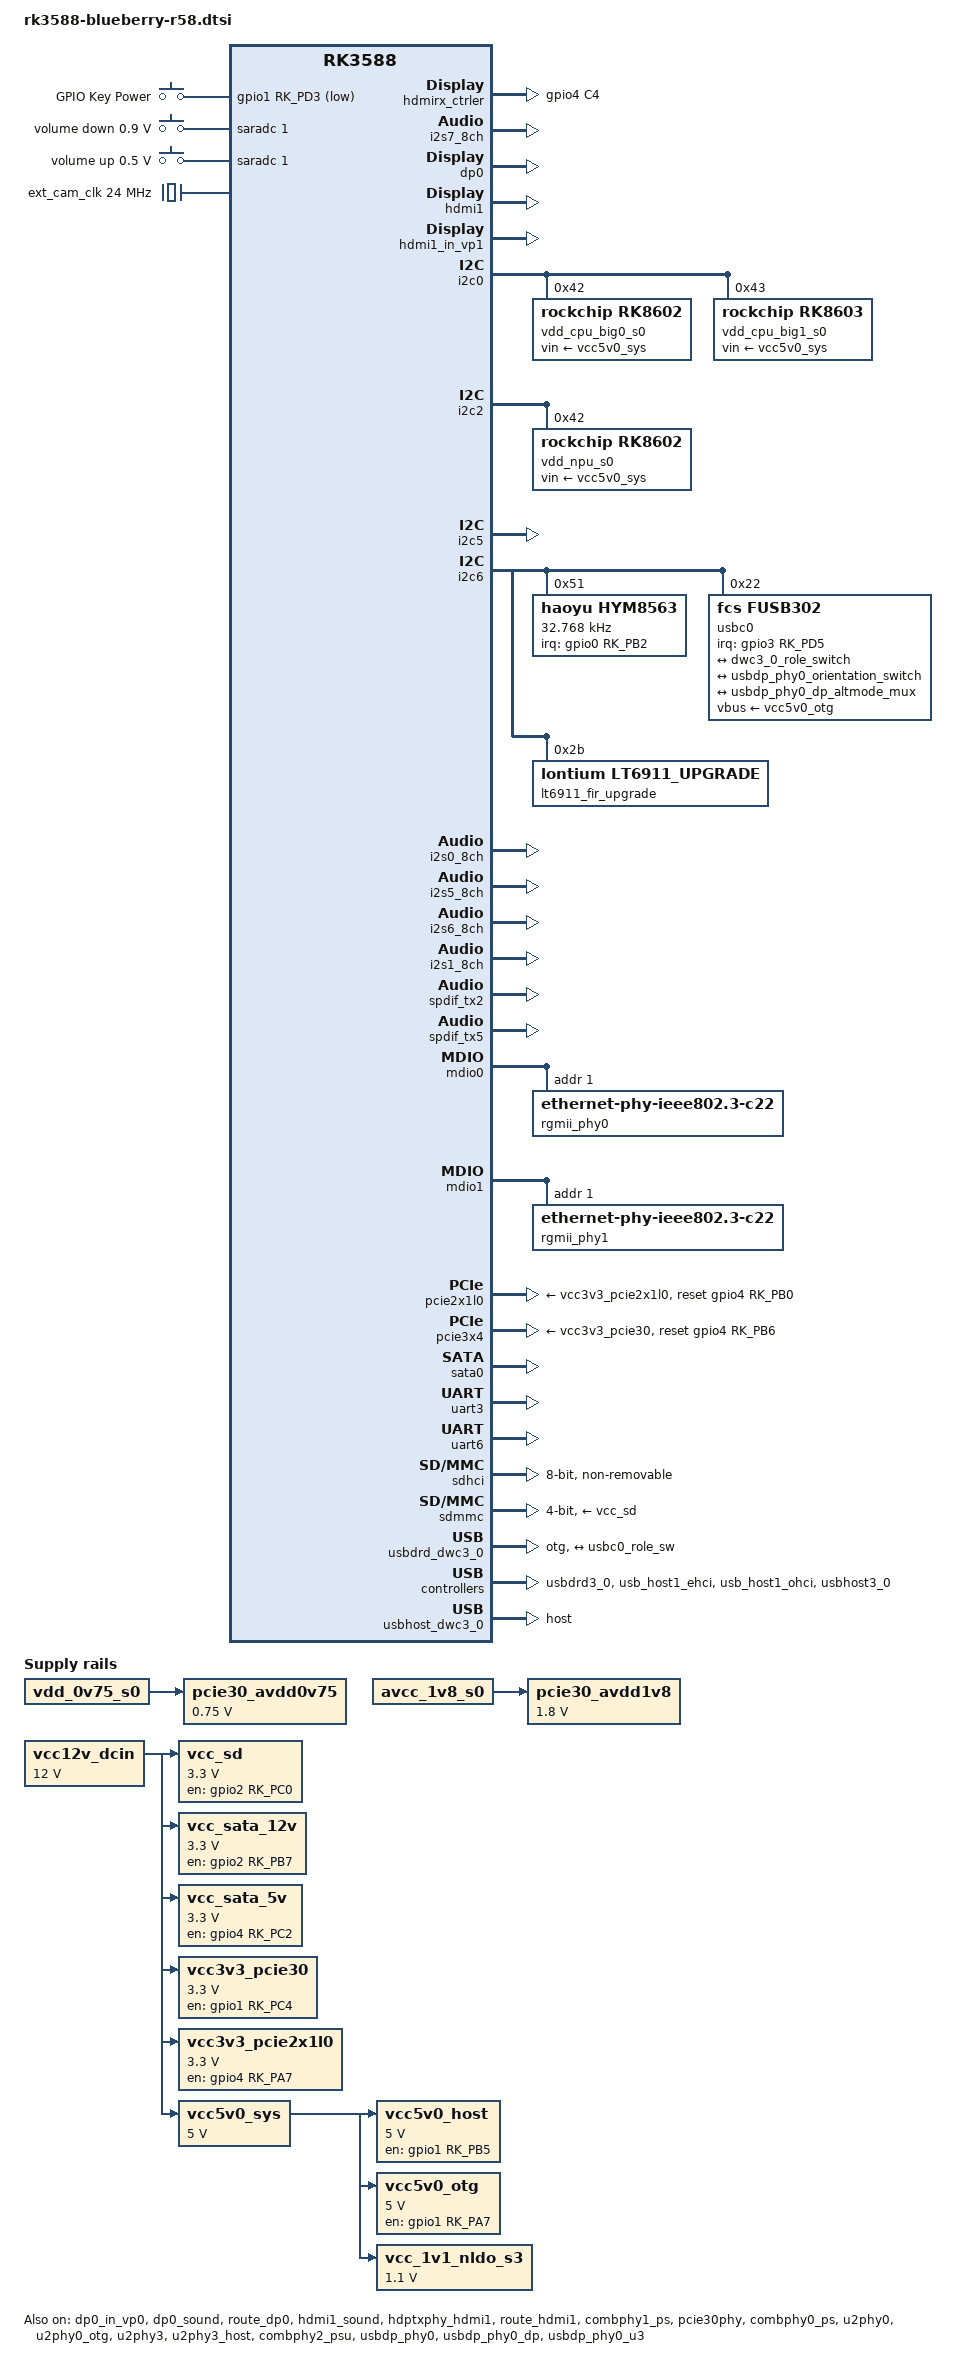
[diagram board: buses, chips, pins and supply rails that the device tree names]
// SPDX-License-Identifier: (GPL-2.0+ OR MIT)
/*
 * Copyright (c) 2021 Rockchip Electronics Co., Ltd.
 *
 */

#include "dt-bindings/usb/pd.h"
#include "rk3588.dtsi"
#include "rk3588-hugsun.dtsi"
#include "rk3588-rk806-single.dtsi"

/ {
	/* If hdmirx node is disabled, delete the reserved-memory node here. */
	reserved-memory {
		#address-cells = <2>;
		#size-cells = <2>;
		ranges;

		/* Reserve 256MB memory for hdmirx-controller@fdee0000 */
		cma {
			compatible = "shared-dma-pool";
			reusable;
			reg = <0x0 (256 * 0x100000) 0x0 (256 * 0x100000)>;
			linux,cma-default;
		};
	};

	hdmiin-sound {
		compatible = "rockchip,hdmi";
		rockchip,mclk-fs = <128>;
		rockchip,format = "i2s";
		rockchip,bitclock-master = <&hdmirx_ctrler>;
		rockchip,frame-master = <&hdmirx_ctrler>;
		rockchip,card-name = "rockchip,hdmirx";
		rockchip,cpu = <&i2s7_8ch>;
		rockchip,codec = <&hdmirx_ctrler 0>;
		rockchip,jack-det;
	};

	es8388_sound: es8388-sound {
		status = "okay";
		compatible = "rockchip,multicodecs-card";
		rockchip,card-name = "rockchip-es8388";
		//hp-det-gpio = <&gpio3 RK_PB2 GPIO_ACTIVE_HIGH>;
		rockchip,format = "i2s";
		rockchip,mclk-fs = <256>;
		rockchip,cpu = <&i2s0_8ch>;
		rockchip,codec = <&es8388>;
		rockchip,audio-routing =
			"Headphone", "LOUT1",
			"Headphone", "ROUT1",
			"Speaker", "LOUT2",
			"Speaker", "ROUT2",
			"Headphone", "Headphone Power",
			"Headphone", "Headphone Power",
			"Speaker", "Speaker Power",
			"Speaker", "Speaker Power",
			"LINPUT1", "Main Mic",
			"LINPUT2", "Main Mic",
			"RINPUT1", "Headset Mic",
			"RINPUT2", "Headset Mic";
		pinctrl-names = "default";
		//pinctrl-0 = <&hp_det>;
	};

	rk_headset: rk-headset {
		status = "disabled";
		compatible = "rockchip_headset";
		headset_gpio = <&gpio3 RK_PB2 GPIO_ACTIVE_HIGH>;
		pinctrl-names = "default";
		pinctrl-0 = <&hp_det>;
		io-channels = <&saradc 3>;
	};

#if 0
	leds: leds {
		compatible = "gpio-leds";
		wifi_led: wifi-led {
			gpios = <&gpio3 RK_PC5 GPIO_ACTIVE_HIGH>;
			default-state = "off";
		};
		//hdd_led: hdd-led {
		//	gpios = <&gpio3 RK_PC1 GPIO_ACTIVE_HIGH>;
		//	default-state = "off";
		//};
		eth_led: eth-led {
			gpios = <&gpio2 RK_PC4 GPIO_ACTIVE_HIGH>;
			default-state = "off";
		};
		work_led: work-led {
			gpios = <&gpio3 RK_PB7 GPIO_ACTIVE_HIGH>;
			//linux,default-trigger = "heartbeat";
			default-state = "on";
		};
	};
#endif

	gpio_keys: gpio-keys {
		compatible = "gpio-keys";
		autorepeat;
		pinctrl-names = "default";
		pinctrl-0 = <&pwrbtn>;

		power {
			debounce-interval = <100>;
			gpios = <&gpio1 RK_PD3 GPIO_ACTIVE_LOW>;
			//gpios = <&gpio0 RK_PD5 GPIO_ACTIVE_LOW>;
			label = "GPIO Key Power";
			linux,code = <KEY_POWER>;
			wakeup-source;
		};
	};	

	adc_keys: adc-keys {
		status = "okay";
		compatible = "adc-keys";
		io-channels = <&saradc 1>;
		io-channel-names = "buttons";
		keyup-threshold-microvolt = <1800000>;
		poll-interval = <100>;

		vol-down-key {
			linux,code = <KEY_VOLUMEDOWN>;
			label = "volume down";
			press-threshold-microvolt = <900000>;
		};

		vol-up-key {
			linux,code = <KEY_VOLUMEUP>;
			label = "volume up";
			press-threshold-microvolt = <500000>;
		};
	};

	vk2c21_lcd {
		compatible = "lcd_vk2c21";
		i2c_scl = <&gpio0 RK_PC5 GPIO_ACTIVE_HIGH>;  
		i2c_sda = <&gpio0 RK_PC4 GPIO_ACTIVE_HIGH>; 
		
		status = "disabled";//"okay";  //zxLog_2022.9.20 for maozhuo time-lcd show;
	};

	vcc_sd: sd-regulator {
		compatible = "regulator-fixed";
		gpios = <&gpio2 RK_PC0 GPIO_ACTIVE_HIGH>;
		pinctrl-names = "default";
		pinctrl-0 = <&sdmmc_pwr>;
		regulator-always-on;
		regulator-boot-on;
		enable-active-high;
		regulator-name = "vcc_sd";
		regulator-min-microvolt = <3300000>;
		regulator-max-microvolt = <3300000>;
		startup-delay-us = <100000>;
		vin-supply = <&vcc12v_dcin>;
	};

	vcc_sata_12v: sdmmc-regulator {
		compatible = "regulator-fixed";
		gpios = <&gpio2 RK_PB7 GPIO_ACTIVE_HIGH>;
		pinctrl-names = "default";
		pinctrl-0 = <&sata_pwr_12v>;
		regulator-always-on;
		regulator-boot-on;
		enable-active-high;
		regulator-name = "vcc_sata_12v";
		regulator-min-microvolt = <3300000>;
		regulator-max-microvolt = <3300000>;
		startup-delay-us = <100000>;
		vin-supply = <&vcc12v_dcin>;
	};

	vcc_sata_5v: sdmmc-regulator {
		compatible = "regulator-fixed";
		gpios = <&gpio4 RK_PC2 GPIO_ACTIVE_HIGH>;
		pinctrl-names = "default";
		pinctrl-0 = <&sata_pwr_5v>;
		regulator-always-on;
		regulator-boot-on;
		enable-active-high;
		regulator-name = "vcc_sata_5v";
		regulator-min-microvolt = <3300000>;
		regulator-max-microvolt = <3300000>;
		startup-delay-us = <100000>;
		vin-supply = <&vcc12v_dcin>;
	};


	pcie30_avdd0v75: pcie30-avdd0v75 {
		compatible = "regulator-fixed";
		regulator-name = "pcie30_avdd0v75";
		regulator-boot-on;
		regulator-always-on;
		regulator-min-microvolt = <750000>;
		regulator-max-microvolt = <750000>;
		vin-supply = <&vdd_0v75_s0>;
	};

	pcie30_avdd1v8: pcie30-avdd1v8 {
		compatible = "regulator-fixed";
		regulator-name = "pcie30_avdd1v8";
		regulator-boot-on;
		regulator-always-on;
		regulator-min-microvolt = <1800000>;
		regulator-max-microvolt = <1800000>;
		vin-supply = <&avcc_1v8_s0>;
	};

	vcc12v_dcin: vcc12v-dcin {
		compatible = "regulator-fixed";
		regulator-name = "vcc12v_dcin";
		regulator-always-on;
		regulator-boot-on;
		regulator-min-microvolt = <12000000>;
		regulator-max-microvolt = <12000000>;
	};

	vcc3v3_pcie30: vcc3v3-pcie30 {
		compatible = "regulator-fixed";
		regulator-name = "vcc3v3_pcie30";
		regulator-min-microvolt = <3300000>;
		regulator-max-microvolt = <3300000>;
		enable-active-high;
		pinctrl-names = "default";
		pinctrl-0 = <&vcc3v3_pcie30_en>;		
		gpios = <&gpio1 RK_PC4 GPIO_ACTIVE_HIGH>;    //hugsun gpio1_c4
		startup-delay-us = <10000>;
		vin-supply = <&vcc12v_dcin>;
	};

	vcc3v3_pcie2x1l0: vcc3v3-pcie2x1l0{
		compatible = "regulator-fixed";
		regulator-name = "vcc3v3_pcie2x1l0";
		regulator-min-microvolt = <3300000>;
		regulator-max-microvolt = <3300000>;
		enable-active-high;	
		gpios = <&gpio4 RK_PA7 GPIO_ACTIVE_HIGH>; 
		startup-delay-us = <10000>;
		vin-supply = <&vcc12v_dcin>;
	};




	vcc5v0_sys: vcc5v0-sys {
		compatible = "regulator-fixed";
		regulator-name = "vcc5v0_sys";
		regulator-always-on;
		regulator-boot-on;
		regulator-min-microvolt = <5000000>;
		regulator-max-microvolt = <5000000>;
		vin-supply = <&vcc12v_dcin>;
	};

	vcc5v0_host: vcc5v0-host-regulator {
		compatible = "regulator-fixed";
		regulator-name = "vcc5v0_host";
		regulator-boot-on;
		regulator-always-on;
		regulator-min-microvolt = <5000000>;
		regulator-max-microvolt = <5000000>;
		enable-active-high;
		gpio = <&gpio1 RK_PB5 GPIO_ACTIVE_HIGH>;
		vin-supply = <&vcc5v0_sys>;
		pinctrl-names = "default";
		pinctrl-0 = <&vcc5v0_host_en>;
	};

	vcc5v0_otg: vcc5v0-otg-regulator {
		compatible = "regulator-fixed";
		regulator-name = "vcc5v0_otg";
		regulator-min-microvolt = <5000000>;
		regulator-max-microvolt = <5000000>;
		enable-active-high;
		gpio = <&gpio1 RK_PA7 GPIO_ACTIVE_HIGH>;
		vin-supply = <&vcc5v0_sys>;
		pinctrl-names = "default";
		pinctrl-0 = <&vcc5v0_otg_en>;
	};

	vcc_1v1_nldo_s3: vcc-1v1-nldo-s3 {
		compatible = "regulator-fixed";
		regulator-name = "vcc_1v1_nldo_s3";
		regulator-always-on;
		regulator-boot-on;
		regulator-min-microvolt = <1100000>;
		regulator-max-microvolt = <1100000>;
		vin-supply = <&vcc5v0_sys>;
	};
#if 0
	modem {
		compatible = "rockchip,modem";
		status = "disabled";
		power-on_gpio = <&gpio0 RK_PD5 GPIO_ACTIVE_HIGH>;
		reset_gpio = <&gpio0 RK_PA0 GPIO_ACTIVE_HIGH>; //GPIO_C4
	};
#endif
	ext_cam_clk: external-camera-clock {
		compatible = "fixed-clock";
		clock-frequency = <24000000>;
		clock-output-names = "CLK_CAMERA_24MHZ";
		#clock-cells = <0>;
	};	

	wireless_bluetooth: wireless-bluetooth {
		compatible = "bluetooth-platdata";
		clocks = <&hym8563>;
		clock-names = "ext_clock";
		uart_rts_gpios = <&gpio1 RK_PA2 GPIO_ACTIVE_LOW>;
		pinctrl-names = "default", "rts_gpio";
		pinctrl-0 = <&uart6m1_rtsn>, <&bt_gpio>;
		pinctrl-1 = <&uart6_gpios>;
		BT,reset_gpio    = <&gpio1 RK_PB2 GPIO_ACTIVE_HIGH>;
		BT,wake_gpio     = <&gpio1 RK_PA4 GPIO_ACTIVE_HIGH>;
		BT,wake_host_irq = <&gpio1 RK_PB0 GPIO_ACTIVE_HIGH>;
		status = "disabled";
	};

	wireless_wlan: wireless-wlan {
		compatible = "wlan-platdata";
		wifi_chip_type = "ap6275p";
		pinctrl-names = "default";
		//pinctrl-0 = <&wifi_host_wake_irq>, <&wifi_poweren_gpio>;
		WIFI,host_wake_irq = <&gpio1 RK_PA7 GPIO_ACTIVE_HIGH>;
		WIFI,poweren_gpio = <&gpio1 RK_PB1 GPIO_ACTIVE_HIGH>;
		status = "disabled";
	};
};

/* Should work with at least 128MB cma reserved above. */
&hdmirx_ctrler {
	status = "okay";
	#sound-dai-cells = <1>;
	/* Effective level used to trigger HPD: 0-low, 1-high */
	hpd-trigger-level = <1>;
	hdmirx-det-gpios = <&gpio4 RK_PC4 GPIO_ACTIVE_LOW>;
	pinctrl-names = "default";
	pinctrl-0 = <&hdmim1_rx &hdmirx_det>;
};

//hdmiin sound
&i2s7_8ch {
	status = "okay";
};

//typec dp 
&dp0 {
	//pinctrl-0 = <&dp0m1_pins>;
	//split-mode;
	//pinctrl-names = "default";
	status = "okay";
};

&dp0_in_vp0 {
	status = "okay";
};

&dp0_sound{
	status = "okay";
};

&route_dp0 {
	status = "okay";
	connect = <&vp0_out_dp0>;
};
//typec dp  end

&gmac0 {
	/* Use rgmii-rxid mode to disable rx delay inside Soc */
	phy-mode = "rgmii-rxid";
	clock_in_out = "output";

	snps,reset-gpio = <&gpio3 RK_PC0 GPIO_ACTIVE_LOW>;
	snps,reset-active-low;
	/* Reset time is 20ms, 100ms for rtl8211f */
	snps,reset-delays-us = <0 20000 100000>;

	pinctrl-names = "default";
	pinctrl-0 = <&gmac0_miim
		     &gmac0_tx_bus2
		     &gmac0_rx_bus2
		     &gmac0_rgmii_clk
		     &gmac0_rgmii_bus>;

	tx_delay = <0x44>;
	/* rx_delay = <0x4f>; */

	phy-handle = <&rgmii_phy0>;
	status = "disabled";
};

&gmac1 {
	/* Use rgmii-rxid mode to disable rx delay inside Soc */
	phy-mode = "rgmii-rxid";
	clock_in_out = "output";

	snps,reset-gpio = <&gpio4 RK_PA2 GPIO_ACTIVE_LOW>;
	snps,reset-active-low;
	/* Reset time is 20ms, 100ms for rtl8211f */
	snps,reset-delays-us = <0 20000 100000>;

	pinctrl-names = "default";
	pinctrl-0 = <&gmac1_miim
		     &gmac1_tx_bus2
		     &gmac1_rx_bus2
		     &gmac1_rgmii_clk
		     &gmac1_rgmii_bus>;

	tx_delay = <0x42>;
	/* rx_delay = <0x4f>; */

	phy-handle = <&rgmii_phy1>;
	status = "disabled";
};

&hdmi0 {
	enable-gpios = <&gpio4 RK_PB1 GPIO_ACTIVE_HIGH>;
	cec-enable = "true" ;
	status = "disabled";
};

&hdmi0_in_vp0 {
	status = "disabled";
};

&hdmi0_sound {
	status = "disabled";
};

&hdptxphy_hdmi0 {
	status = "disabled";
};

&hdmi1 {
	enable-gpios = <&gpio4 RK_PB1 GPIO_ACTIVE_HIGH>;
	//pinctrl-0 = <&hdmim0_tx0_cec &hdmim0_tx0_hpd &hdmim0_tx0_scl &hdmim0_tx0_sda>;
	cec-enable = "true" ;
	status = "okay";
};

&hdmi1_in_vp1 {
	status = "okay";
};

&hdmi1_sound {
	status = "okay";
};

&hdptxphy_hdmi1 {
	status = "okay";
};

&route_hdmi1 {
	status = "okay";
	connect = <&vp1_out_hdmi1>;
};


&i2c0 {
	status = "okay";
	pinctrl-names = "default";
	pinctrl-0 = <&i2c0m2_xfer>;

	vdd_cpu_big0_s0: vdd_cpu_big0_mem_s0: rk8602@42 {
		compatible = "rockchip,rk8602";
		reg = <0x42>;
		vin-supply = <&vcc5v0_sys>;
		regulator-compatible = "rk860x-reg";
		regulator-name = "vdd_cpu_big0_s0";
		regulator-min-microvolt = <550000>;
		regulator-max-microvolt = <1050000>;
		regulator-ramp-delay = <2300>;
		rockchip,suspend-voltage-selector = <1>;
		regulator-boot-on;
		regulator-always-on;
		regulator-state-mem {
			regulator-off-in-suspend;
		};
	};

	vdd_cpu_big1_s0: vdd_cpu_big1_mem_s0: rk8603@43 {
		compatible = "rockchip,rk8603";
		reg = <0x43>;
		vin-supply = <&vcc5v0_sys>;
		regulator-compatible = "rk860x-reg";
		regulator-name = "vdd_cpu_big1_s0";
		regulator-min-microvolt = <550000>;
		regulator-max-microvolt = <1050000>;
		regulator-ramp-delay = <2300>;
		rockchip,suspend-voltage-selector = <1>;
		regulator-boot-on;
		regulator-always-on;
		regulator-state-mem {
			regulator-off-in-suspend;
		};
	};
};

&i2c2 {
	status = "okay";

	vdd_npu_s0: vdd_npu_mem_s0: rk8602@42 {
		compatible = "rockchip,rk8602";
		reg = <0x42>;
		vin-supply = <&vcc5v0_sys>;
		regulator-compatible = "rk860x-reg";
		regulator-name = "vdd_npu_s0";
		regulator-min-microvolt = <550000>;
		regulator-max-microvolt = <950000>;
		regulator-ramp-delay = <2300>;
		rockchip,suspend-voltage-selector = <1>;
		regulator-boot-on;
		regulator-always-on;
		regulator-state-mem {
			regulator-off-in-suspend;
		};
	};
};

&i2c5 {
	pinctrl-names = "default";
	pinctrl-0 = <&i2c5m3_xfer>;
	status = "okay";
};

&i2c6 {
	status = "okay";
	hym8563: hym8563@51 {
		compatible = "haoyu,hym8563";
		reg = <0x51>;
		#clock-cells = <0>;
		clock-frequency = <32768>;
		clock-output-names = "hym8563";
		pinctrl-names = "default";
		pinctrl-0 = <&hym8563_int>;
		interrupt-parent = <&gpio0>;
		interrupts = <RK_PB2 IRQ_TYPE_LEVEL_LOW>;
		wakeup-source;
	};

	usbc0: fusb302@22 {
		compatible = "fcs,fusb302";
		reg = <0x22>;
		interrupt-parent = <&gpio3>;
		interrupts = <RK_PD5 IRQ_TYPE_LEVEL_LOW>;
		pinctrl-names = "default";
		pinctrl-0 = <&usbc0_int>;
		vbus-supply = <&vcc5v0_otg>;
		status = "okay";

		ports {
			#address-cells = <1>;
			#size-cells = <0>;

			port@0 {
				reg = <0>;
				usbc0_role_sw: endpoint@0 {
					remote-endpoint = <&dwc3_0_role_switch>;
				};
			};
		};

		usb_con: connector {
			compatible = "usb-c-connector";
			label = "USB-C";
			data-role = "dual";
			power-role = "dual";
			try-power-role = "sink";
			op-sink-microwatt = <1000000>;
			sink-pdos =
				<PDO_FIXED(5000, 1000, PDO_FIXED_USB_COMM)>;
			source-pdos =
				<PDO_FIXED(5000, 3000, PDO_FIXED_USB_COMM)>;

			altmodes {
				#address-cells = <1>;
				#size-cells = <0>;

				altmode@0 {
					reg = <0>;
					svid = <0xff01>;
					vdo = <0xffffffff>;
				};
			};

			ports {
				#address-cells = <1>;
				#size-cells = <0>;

				port@0 {
					reg = <0>;
					usbc0_orien_sw: endpoint {
						remote-endpoint = <&usbdp_phy0_orientation_switch>;
					};
				};

				port@1 {
					reg = <1>;
					dp_altmode_mux: endpoint {
						remote-endpoint = <&usbdp_phy0_dp_altmode_mux>;
					};
				};
			};
		};
	};

	lt6911_fir_upgrade: lt6911_fir_upgrade@2b {
		compatible = "lontium,lt6911_upgrade";
		status = "okay";
		reg = <0x2b>;
		clocks = <&ext_cam_clk>;
		clock-names = "xvclk";
	};

};

&i2s0_8ch {
	status = "okay";
	pinctrl-0 = <&i2s0_lrck
		     &i2s0_sclk
		     &i2s0_sdi0
		     &i2s0_sdo0>;
};

//hdmi01 sound
&i2s5_8ch {
	status = "okay";
};

//hdmi02 sound
&i2s6_8ch {
	status = "okay";
};

//lt6911 sound
&i2s1_8ch {
	status = "okay";
	pinctrl-0 = <&i2s1m0_lrck
		     &i2s1m0_sclk
		     &i2s1m0_sdi0>;
};

&spdif_tx2 {
	status = "okay";
};

&spdif_tx5 {
	status = "okay";
};

&mdio0 {
	rgmii_phy0: phy@1 {
		compatible = "ethernet-phy-ieee802.3-c22";
		reg = <0x1>;
	};
};

&mdio1 {
	rgmii_phy1: phy@1 {
		compatible = "ethernet-phy-ieee802.3-c22";
		reg = <0x1>;
	};
};

/*for RTL8125B(S)_BG(S)_BI*/
&combphy1_ps {
	status = "okay";
};

&pcie2x1l0 {
	reset-gpios = <&gpio4 RK_PB0 GPIO_ACTIVE_HIGH>;
	vpcie3v3-supply = <&vcc3v3_pcie2x1l0>;
	pinctrl-names = "default";
	pinctrl-0 = <&pcie30x2m1_pins>;
	status = "okay";
};
/*for RTL8125B(S)_BG(S)_BI  end*/


&pcie30phy {
	rockchip,pcie30-phymode = <PHY_MODE_PCIE_AGGREGATION>;
	status = "okay";
};

&pcie3x4 {
	reset-gpios = <&gpio4 RK_PB6 GPIO_ACTIVE_HIGH>;
	vpcie3v3-supply = <&vcc3v3_pcie30>;
	status = "okay";
};

&rk806single {
	pinctrl-names = "default", "pmic-power-off";
	pinctrl-0 = <&pmic_pins>, <&rk806_dvs1_null>, <&rk806_dvs2_null>, <&rk806_dvs3_null>;
	pinctrl-1 = <&rk806_dvs1_slp>, <&rk806_dvs2_null>, <&rk806_dvs3_null>;

	regulators {
		avcc_1v8_s0: PLDO_REG1 {
			regulator-always-on;
			regulator-boot-on;
			regulator-min-microvolt = <1800000>;
			regulator-max-microvolt = <1800000>;
			regulator-name = "avcc_1v8_s0";
			regulator-state-mem {
				regulator-on-in-suspend;
				regulator-suspend-microvolt = <1800000>;
			};
		};
	};
};

&vdd_log_s0 {  //fox.luo@2022.05.26 don't wake up 
        regulator-state-mem {
        regulator-on-in-suspend;
        regulator-suspend-microvolt = <750000>;
        };
};

&rockchip_suspend {
	status = "okay";
	rockchip,sleep-debug-en = <1>;
	rockchip,virtual-poweroff = <1>;
	rockchip,sleep-mode-config = <
		(0
		| RKPM_SLP_ARMOFF_DDRPD
		)
	>;
	rockchip,wakeup-config = <
		(0
		| RKPM_CPU0_WKUP_EN
		| RKPM_GPIO_WKUP_EN
		)
	>;
};

&route_dp1 {
	status = "disabled";
	connect = <&vp2_out_dp1>;
};

&route_hdmi0 {
	status = "disabled";
	connect = <&vp0_out_hdmi0>;
};

&sata0 {
	status = "okay";
};

&combphy0_ps{
	u-boot,dm-pre-reloc;
	status = "okay";
};

//rs232
&uart3 {
	status = "okay";
	pinctrl-names = "default";
	pinctrl-0 = <&uart3m1_xfer>;
};

&uart6 {
	status = "okay";
	pinctrl-names = "default";
	pinctrl-0 = <&uart6m1_xfer &uart6m1_ctsn>;
};

&sdhci {
	bus-width = <8>;
	no-sdio;
	no-sd;
	non-removable;
	max-frequency = <200000000>;
	mmc-hs400-1_8v;
	mmc-hs400-enhanced-strobe;
	full-pwr-cycle-in-suspend;
	status = "okay";
};

&sdmmc {
	max-frequency = <150000000>;
	no-sdio;
	no-mmc;
	supports-sd;
	bus-width = <4>;
	cap-mmc-highspeed;
	cap-sd-highspeed;
	disable-wp;
	//sd-uhs-sdr104;
	vmmc-supply = <&vcc_sd>;
	vqmmc-supply = <&vccio_sd_s0>;
	status = "okay";
};


&pinctrl {

	sdmmc-pwr {  
		sdmmc_pwr: sdmmc-pwr {
			rockchip,pins = <2 RK_PC0 RK_FUNC_GPIO &pcfg_pull_none>;
		};
	};

	sata-pwr { 
		sata_pwr_12v: sata_pwr_12v {
			rockchip,pins = <2 RK_PB7 RK_FUNC_GPIO &pcfg_pull_none>;
		};

		sata_pwr_5v: sata_pwr_5v {
			rockchip,pins = <4 RK_PC2 RK_FUNC_GPIO &pcfg_pull_none>;
		};
	};

	RTL8125B {
		RTL8125B_isolate: RTL8125B-isolate {
			rockchip,pins = <3 RK_PB7 RK_FUNC_GPIO &pcfg_pull_up>;
		};
	};


	wireless-bluetooth {
		uart6_gpios: uart6-gpios {
			rockchip,pins = <1 RK_PA2 RK_FUNC_GPIO &pcfg_pull_none>;
		};

		bt_gpio: bt-gpio {
			rockchip,pins =
				<1 RK_PB2 RK_FUNC_GPIO &pcfg_pull_none>,
				<1 RK_PB0 RK_FUNC_GPIO &pcfg_pull_up>,
				<1 RK_PA4 RK_FUNC_GPIO &pcfg_pull_down>;
		};
	};

	buttons {
		pwrbtn: pwrbtn {
			rockchip,pins = <1 RK_PD3 RK_FUNC_GPIO &pcfg_pull_up>;
			//rockchip,pins = <0 RK_PD5 RK_FUNC_GPIO &pcfg_pull_up>;
		};
	};

	headphone {
		hp_det: hp-det {
			rockchip,pins = <3 RK_PB2 RK_FUNC_GPIO &pcfg_pull_none>;
		};
	};

	hym8563 {
		hym8563_int: hym8563-int {
			rockchip,pins = <0 RK_PB2 RK_FUNC_GPIO &pcfg_pull_up>;
		};
	};

	usb {
		vcc5v0_host_en: vcc5v0-host-en {
			rockchip,pins = <1 RK_PB5 RK_FUNC_GPIO &pcfg_pull_none>;
		};

	};

	usb-typec {
		usbc0_int: usbc0-int {
			rockchip,pins = <3 RK_PD5 RK_FUNC_GPIO &pcfg_pull_up>;
		};

		vcc5v0_otg_en: vcc5v0-otg-en {
			rockchip,pins = <1 RK_PA7 RK_FUNC_GPIO &pcfg_pull_none>;
		};
	};
	
	hdmiin {
		lt6911uxc_pin: lt6911uxc-pin {
			rockchip,pins = <3 RK_PD1 RK_FUNC_GPIO &pcfg_pull_none>,
					<4 RK_PA6 RK_FUNC_GPIO &pcfg_pull_none>,
					<1 RK_PD5 RK_FUNC_GPIO &pcfg_pull_none>;
		};

		hdmirx_det: hdmirx-det {
			rockchip,pins = <4 RK_PC4 RK_FUNC_GPIO &pcfg_pull_up>;
		};

	};		

	pcie {
		vcc3v3_pcie30_en: vcc3v3-pcie30-en {
			rockchip,pins = <1 RK_PC4 RK_FUNC_GPIO &pcfg_pull_up>;
		};	
	
	};
};

//type-c0  adb start
&u2phy0 {
	status = "okay";
};

&u2phy0_otg {
	rockchip,typec-vbus-det;
	//phy-supply = <&vcc5v0_host>;
	//vbus-supply = <&vcc5v0_otg>;
	status = "okay";
};

&usbdrd_dwc3_0 {
	dr_mode = "otg";
	usb-role-switch;
	status = "okay";

	port {
		#address-cells = <1>;
		#size-cells = <0>;
		dwc3_0_role_switch: endpoint@0 {
			reg = <0>;
			remote-endpoint = <&usbc0_role_sw>;
		};
	};
};

&usbdrd3_0 {
	status = "okay";
};
//type-c0 adb end


//usb2.0 host1  USB20_HOST1 start
&u2phy3 {
	status = "okay";
};

&u2phy3_host {
	phy-supply = <&vcc5v0_host>;
	status = "okay";
};

&usb_host1_ehci {
	status = "okay";
};

&usb_host1_ohci {
	status = "okay";
};

//usb2.0 host1  USB20_HOST1 end

//USB30_2  start

&combphy2_psu {
	phy-supply = <&vcc5v0_host>;
	status = "okay";
};

&usbhost3_0 {
	status = "okay";
};

&usbhost_dwc3_0 {
	dr_mode = "host";
	status = "okay";
};

//USB30_2  end


&usbdp_phy0 {
	orientation-switch;
	svid = <0xff01>;
	sbu1-dc-gpios = <&gpio2 RK_PB4 GPIO_ACTIVE_HIGH>;
	sbu2-dc-gpios = <&gpio2 RK_PB5 GPIO_ACTIVE_HIGH>;
	status = "okay";

	port {
		#address-cells = <1>;
		#size-cells = <0>;
		usbdp_phy0_orientation_switch: endpoint@0 {
			reg = <0>;
			remote-endpoint = <&usbc0_orien_sw>;
		};

		usbdp_phy0_dp_altmode_mux: endpoint@1 {
			reg = <1>;
			remote-endpoint = <&dp_altmode_mux>;
		};
	};
};

&usbdp_phy0_dp {
	status = "okay";
};

&usbdp_phy0_u3 {
	status = "okay";
};


&vdd_vdenc_s0 {
	regulator-init-microvolt = <750000>;
};
